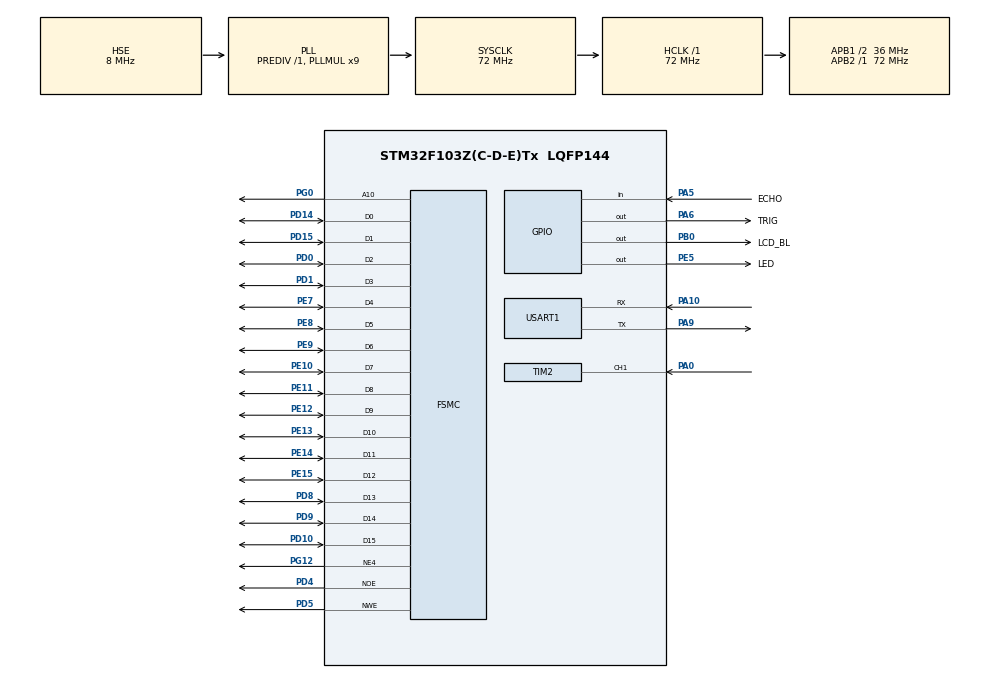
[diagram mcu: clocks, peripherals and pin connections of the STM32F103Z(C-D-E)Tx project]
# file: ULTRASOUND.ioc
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FSMC.BusTurnAroundDuration1=0
FSMC.DataSetupTime1=60
FSMC.ExtendedAddressSetupTime1=9
FSMC.ExtendedBusTurnAroundDuration1=0
FSMC.ExtendedDataSetupTime1=8
FSMC.ExtendedMode1=FSMC_EXTENDED_MODE_ENABLE
Mcu.Family=STM32F1
Mcu.Name=STM32F103Z(C-D-E)Tx
Mcu.Package=LQFP144
NVIC.PriorityGroup=NVIC_PRIORITYGROUP_4
NVIC.TIM2_IRQn=true\:0\:0\:false\:false\:true\:true\:true\:true
OSC_IN.Mode=HSE-External-Oscillator
OSC_IN.Signal=RCC_OSC_IN
OSC_OUT.Mode=HSE-External-Oscillator
OSC_OUT.Signal=RCC_OSC_OUT
PA0-WKUP.Signal=S_TIM2_CH1_ETR
PA10.Mode=Asynchronous
PA10.Signal=USART1_RX
PA13.Mode=Serial_Wire
PA13.Signal=SYS_JTMS-SWDIO
PA14.Mode=Serial_Wire
PA14.Signal=SYS_JTCK-SWCLK
PA5.GPIO_Label=ECHO
PA5.GPIO_PuPd=GPIO_PULLDOWN
PA5.Signal=GPIO_Input
PA6.GPIO_Label=TRIG
PA6.Signal=GPIO_Output
PA9.Mode=Asynchronous
PA9.Signal=USART1_TX
PB0.GPIO_Label=LCD_BL
PB0.GPIO_PuPd=GPIO_PULLUP
PB0.GPIO_Speed=GPIO_SPEED_FREQ_HIGH
PB0.Signal=GPIO_Output
PD0.Signal=FSMC_D2_DA2
PD1.Signal=FSMC_D3_DA3
PD10.Signal=FSMC_D15_DA15
PD14.Signal=FSMC_D0_DA0
PD15.Signal=FSMC_D1_DA1
PD4.Signal=FSMC_NOE
PD5.Signal=FSMC_NWE
PD8.Signal=FSMC_D13_DA13
PD9.Signal=FSMC_D14_DA14
PE10.Signal=FSMC_D7_DA7
PE11.Signal=FSMC_D8_DA8
PE12.Signal=FSMC_D9_DA9
PE13.Signal=FSMC_D10_DA10
PE14.Signal=FSMC_D11_DA11
PE15.Signal=FSMC_D12_DA12
PE5.GPIO_Label=LED
PE5.Signal=GPIO_Output
PE7.Signal=FSMC_D4_DA4
PE8.Signal=FSMC_D5_DA5
PE9.Signal=FSMC_D6_DA6
PG0.Signal=FSMC_A10
PG12.Mode=NorPsramChipSelect4_1
PG12.Signal=FSMC_NE4
ProjectManager.HeapSize=0x200
ProjectManager.StackSize=0x400
ProjectManager.TargetToolchain=MDK-ARM V5
RCC.AHBFreq_Value=72000000
RCC.APB1CLKDivider=RCC_HCLK_DIV2
RCC.APB1Freq_Value=36000000
RCC.APB1TimFreq_Value=72000000
RCC.APB2Freq_Value=72000000
RCC.APB2TimFreq_Value=72000000
RCC.HCLKFreq_Value=72000000
RCC.PLLMUL=RCC_PLL_MUL9
RCC.PLLSourceVirtual=RCC_PLLSOURCE_HSE
RCC.SYSCLKFreq_VALUE=72000000
RCC.SYSCLKSource=RCC_SYSCLKSOURCE_PLLCLK
RCC.USBFreq_Value=72000000
SH.FSMC_A10.0=FSMC_A10,A10_1
SH.FSMC_D0_DA0.0=FSMC_D0,16b-d1
SH.FSMC_D10_DA10.0=FSMC_D10,16b-d1
SH.FSMC_D11_DA11.0=FSMC_D11,16b-d1
SH.FSMC_D12_DA12.0=FSMC_D12,16b-d1
SH.FSMC_D13_DA13.0=FSMC_D13,16b-d1
SH.FSMC_D14_DA14.0=FSMC_D14,16b-d1
SH.FSMC_D15_DA15.0=FSMC_D15,16b-d1
SH.FSMC_D1_DA1.0=FSMC_D1,16b-d1
SH.FSMC_D2_DA2.0=FSMC_D2,16b-d1
SH.FSMC_D3_DA3.0=FSMC_D3,16b-d1
SH.FSMC_D4_DA4.0=FSMC_D4,16b-d1
SH.FSMC_D5_DA5.0=FSMC_D5,16b-d1
SH.FSMC_D6_DA6.0=FSMC_D6,16b-d1
SH.FSMC_D7_DA7.0=FSMC_D7,16b-d1
SH.FSMC_D8_DA8.0=FSMC_D8,16b-d1
SH.FSMC_D9_DA9.0=FSMC_D9,16b-d1
SH.FSMC_NOE.0=FSMC_NOE,Lcd1
SH.FSMC_NWE.0=FSMC_NWE,Lcd1
SH.S_TIM2_CH1_ETR.0=TIM2_CH1,Input_Capture1_from_TI1
TIM2.Channel-Input_Capture1_from_TI1=TIM_CHANNEL_1
TIM2.Period=49999
TIM2.Prescaler=71
TIM3.Prescaler=71
USART1.VirtualMode=VM_ASYNC
VP_TIM3_VS_ClockSourceINT.Mode=Internal
board=custom

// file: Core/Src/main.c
/* USER CODE BEGIN Header */
/**
  ******************************************************************************
  * @file           : main.c
  * @brief          : Main program body
  ******************************************************************************
  * @attention
  *
  * Copyright (c) 2022 STMicroelectronics.
  * All rights reserved.
  *
  * This software is licensed under terms that can be found in the LICENSE file
  * in the root directory of this software component.
  * If no LICENSE file comes with this software, it is provided AS-IS.
  *
  ******************************************************************************
  */
/* USER CODE END Header */
#include "main.h"
#include "tim.h"
#include "usart.h"
#include "gpio.h"
#include "fsmc.h"

/* USER CODE BEGIN Includes */
#include <stdio.h>
#include "ILI93xx.h"
/* USER CODE END Includes */

/* USER CODE BEGIN PD */
#define Trig_H  	HAL_GPIO_WritePin(TRIG_GPIO_Port,TRIG_Pin,GPIO_PIN_SET );
#define Trig_L  	HAL_GPIO_WritePin(TRIG_GPIO_Port,TRIG_Pin,GPIO_PIN_RESET );
#define Echo 			HAL_GPIO_ReadPin(ECHO_GPIO_Port,ECHO_Pin )
/* USER CODE END PD */

/* USER CODE BEGIN PV */
uint16_t count;
uint16_t distance;
uint16_t  time;
uint16_t i;
float initValue = 0.0;
/* USER CODE END PV */

void SystemClock_Config(void);

/* USER CODE BEGIN 0 */
void delay_us(uint32_t nus)
{

 uint16_t  differ = 0xffff-nus-5;
 //设置定时器2的技术初始值
  __HAL_TIM_SetCounter(&htim3,differ);
  //开启定时器
  HAL_TIM_Base_Start(&htim3);

  while( differ<0xffff-5)
 {
  differ = __HAL_TIM_GetCounter(&htim3);
 };
 //关闭定时器
  HAL_TIM_Base_Stop(&htim3);
}

float get_Distance(){
	float Distance;
	Trig_H; delay_us(15); Trig_L;   				//给Trig引脚15us的高电平
	HAL_TIM_Base_Start(&htim2);  						//打开定时器
	while(!Echo);
	__HAL_TIM_SET_COUNTER(&htim2, 0);  			//计数器清零
	while(Echo);														//等待低电平结束
	HAL_TIM_Base_Stop(&htim2);         			//关闭定时器
	Distance = ((float)__HAL_TIM_GET_COUNTER(&htim2)/1000.0)*340/2.0;  //计算距离
	LCD_ShowFloat(210,110,16,Distance,4,6); // Show on the LCD
	__HAL_TIM_SET_COUNTER(&htim2, 0);  			//计数器清零
	return Distance;
}
/* USER CODE END 0 */

int main(void)
{

  /* MCU Configuration--------------------------------------------------------*/

  /* Reset of all peripherals, Initializes the Flash interface and the Systick. */
  HAL_Init();

  /* Configure the system clock */
  SystemClock_Config();

  /* Initialize all configured peripherals */
  MX_GPIO_Init();
  MX_TIM2_Init();
  MX_TIM3_Init();
  MX_USART1_UART_Init();
  MX_FSMC_Init();
  /* USER CODE BEGIN 2 */
	TFTLCD_Init();
	LCD_Clear(BLUE);
	LCD_ShowString(30,40,210,24,24, "What a nice day!");
	LCD_ShowString(30,70,200,16,16, "TFTLCD TEST");
	LCD_ShowString(30,90,200,16,16, "2020/7/29");
	LCD_ShowString(30,110,200,16,16, "The distance is: ");
	LCD_ShowFloat(210,110,16,initValue,4,6);
  /* USER CODE END 2 */

  /* Infinite loop */
  while (1)
  {

    /* USER CODE BEGIN 3 */
		printf("distance = %f mm \r\n", get_Distance());
		HAL_Delay(500);
  }
  /* USER CODE END 3 */
}

void SystemClock_Config(void)
{
  RCC_OscInitTypeDef RCC_OscInitStruct = {0};
  RCC_ClkInitTypeDef RCC_ClkInitStruct = {0};

  /** Initializes the RCC Oscillators according to the specified parameters
  * in the RCC_OscInitTypeDef structure.
  */
  RCC_OscInitStruct.OscillatorType = RCC_OSCILLATORTYPE_HSE;
  RCC_OscInitStruct.HSEState = RCC_HSE_ON;
  RCC_OscInitStruct.HSEPredivValue = RCC_HSE_PREDIV_DIV1;
  RCC_OscInitStruct.HSIState = RCC_HSI_ON;
  RCC_OscInitStruct.PLL.PLLState = RCC_PLL_ON;
  RCC_OscInitStruct.PLL.PLLSource = RCC_PLLSOURCE_HSE;
  RCC_OscInitStruct.PLL.PLLMUL = RCC_PLL_MUL9;
  if (HAL_RCC_OscConfig(&RCC_OscInitStruct) != HAL_OK)
  {
    Error_Handler();
  }

  /** Initializes the CPU, AHB and APB buses clocks
  */
  RCC_ClkInitStruct.ClockType = RCC_CLOCKTYPE_HCLK|RCC_CLOCKTYPE_SYSCLK
                              |RCC_CLOCKTYPE_PCLK1|RCC_CLOCKTYPE_PCLK2;
  RCC_ClkInitStruct.SYSCLKSource = RCC_SYSCLKSOURCE_PLLCLK;
  RCC_ClkInitStruct.AHBCLKDivider = RCC_SYSCLK_DIV1;
  RCC_ClkInitStruct.APB1CLKDivider = RCC_HCLK_DIV2;
  RCC_ClkInitStruct.APB2CLKDivider = RCC_HCLK_DIV1;

  if (HAL_RCC_ClockConfig(&RCC_ClkInitStruct, FLASH_LATENCY_2) != HAL_OK)
  {
    Error_Handler();
  }
}

void Error_Handler(void)
{
  __disable_irq();
  while (1)
  {
  }
}
